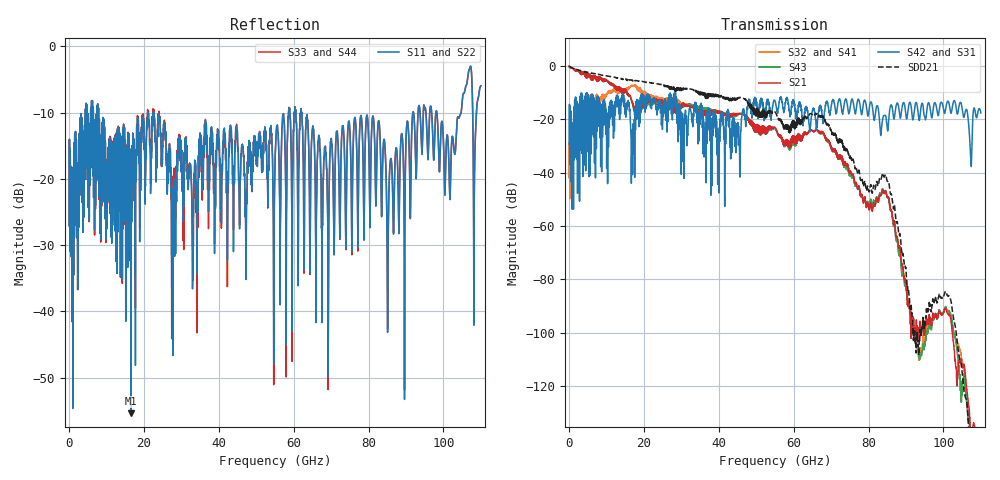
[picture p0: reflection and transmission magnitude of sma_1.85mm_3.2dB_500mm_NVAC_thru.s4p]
!4 port subset of full cascaded channels using these ports:3 1 4 2
# Hz S RI R 50
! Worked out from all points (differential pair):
!   11000 points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, 10 MHz to 110 GHz, reference 50 ohm
!   strongest paths, dB at 10 MHz, 27.51 GHz, 55.01 GHz, 82.51 GHz, 110 GHz:
!     S42: -29.4, -13.2, -13.3, -15.6, -17.7
!     S31: -29.4, -13.2, -13.3, -15.6, -17.7
!     S21: -0.2, -15.6, -23.1, -51.1, -
!     S43: -0.2, -15.5, -23.6, -50.7, -
!     S32: -41.9, -13.6, -23.4, -50.8, -
!     S41: -41.9, -13.6, -23.4, -50.9, -
!   taken as a pair (ports 1,3 in; 2,4 out), SDD21 dB: -0.1, -8.6, -17.3, -44.9, -
!   lowest |S11| = -55.4 dB at 16.52 GHz (marker M1), VSWR 1.00, Z = 50 - j0.169 ohm
!   |S11| at or under -10 dB: 7.893 GHz to 20.97 GHz (13.08 GHz wide, 90.6 % of centre); 22.63 GHz to 58.62 GHz (35.99 GHz wide, 88.6 % of centre); 62.16 GHz to 91.83 GHz (29.67 GHz wide, 38.5 % of centre) (the widest 3 of 25)
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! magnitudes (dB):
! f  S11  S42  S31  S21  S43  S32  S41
! 10 MHz  -27.0  -29.4  -29.4  -0.2  -0.2  -41.9  -41.9
! 2.83 GHz  -22.3  -16.8  -16.8  -2.3  -2.3  -14.0  -14.0
! 16.52 GHz  -55.4  -24.9  -24.9  -12.0  -12.2  -7.6  -7.6
! 67.62 GHz  -28.7  -19.2  -19.2  -24.6  -24.8  -24.7  -24.7
! 84.87 GHz  -25.3  -21.8  -21.8  -48.7  -48.8  -48.7  -48.7
! 89.89 GHz  -16.5  -17.5  -17.5  -80.8  -82.4  -80.7  -80.7
! 110 GHz  -6.0  -17.7  -17.7  -  -  -  -
